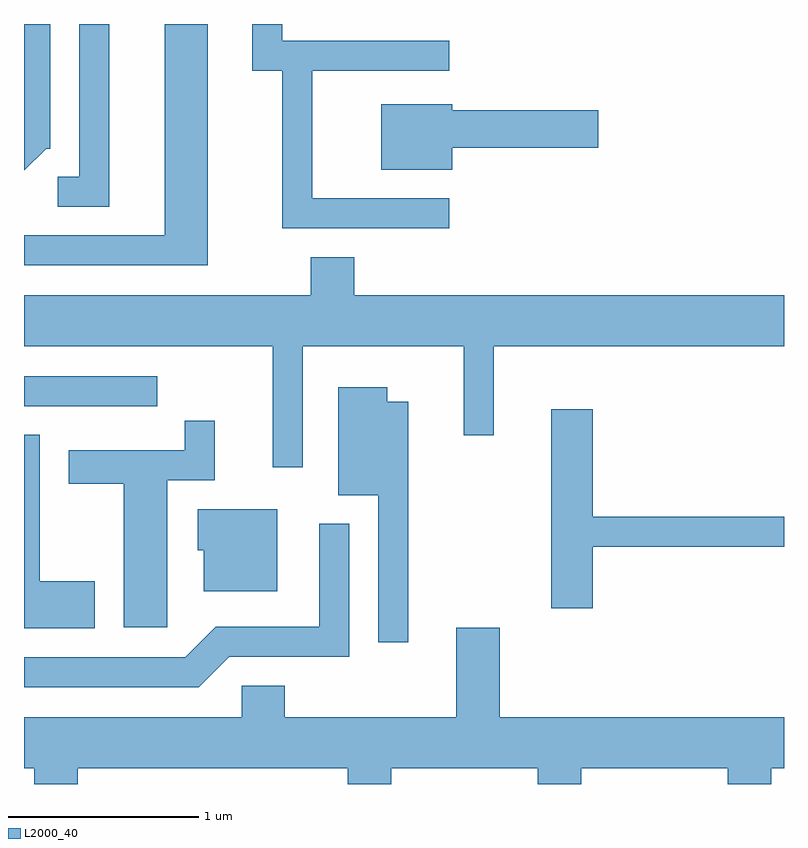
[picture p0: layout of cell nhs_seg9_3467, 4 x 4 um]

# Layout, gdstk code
import gdstk
lib = gdstk.Library(unit=1e-6, precision=1e-09)
def R(c, l, rs):  # rectangles x0, y0, x1, y1
    for r in rs: c.add(gdstk.rectangle(r[:2], r[2:], *l))
def P(c, l, *ps):  # polygons
    for p in ps: c.add(gdstk.Polygon(p, *l))
L2000_40 = (2000, 40)

nhs_seg9_3467 = lib.new_cell('nhs_seg9_3467')
R(nhs_seg9_3467, L2000_40, [(287.611,1960.421,288.313,1960.579)])
P(nhs_seg9_3467, L2000_40, [(288.579,1962.432),(288.351,1962.432),(288.351,1961.319),(287.611,1961.319),(287.611,1961.161),(288.579,1961.161)],
  [(288.059,1962.432),(287.901,1962.432),(287.901,1961.629),(287.788,1961.629),(287.788,1961.471),(288.059,1961.471)],
  [(289.848,1961.514),(289.129,1961.514),(289.129,1962.186),(289.848,1962.186),(289.848,1962.344),(288.969,1962.344),(288.969,1962.432),(288.811,1962.432),(288.811,1962.186),(288.971,1962.186),(288.971,1961.356),(289.848,1961.356)],
  [(287.727,1961.776),(287.749,1961.776),(287.749,1962.432),(287.611,1962.432),(287.611,1961.661)],
  [(289.864,1961.781),(290.634,1961.781),(290.634,1961.979),(289.864,1961.979),(289.864,1962.009),(289.491,1962.009),(289.491,1961.666),(289.864,1961.666)],
  [(289.079,1960.736),(289.926,1960.736),(289.926,1960.268),(290.084,1960.268),(290.084,1960.736),(291.611,1960.736),(291.611,1961.004),(289.349,1961.004),(289.349,1961.204),(289.121,1961.204),(289.121,1961.004),(287.611,1961.004),(287.611,1960.736),(288.921,1960.736),(288.921,1960.098),(289.079,1960.098)],
  [(289.634,1960.444),(289.524,1960.444),(289.524,1960.519),(289.266,1960.519),(289.266,1959.951),(289.476,1959.951),(289.476,1959.178),(289.634,1959.178)],
  [(290.604,1959.681),(291.611,1959.681),(291.611,1959.839),(290.604,1959.839),(290.604,1960.404),(290.386,1960.404),(290.386,1959.356),(290.604,1959.356)],
  [(288.364,1960.031),(288.614,1960.031),(288.614,1960.343),(288.456,1960.343),(288.456,1960.189),(287.846,1960.189),(287.846,1960.011),(288.136,1960.011),(288.136,1959.256),(288.364,1959.256)],
  [(287.984,1959.499),(287.694,1959.499),(287.694,1960.269),(287.611,1960.269),(287.611,1959.251),(287.984,1959.251)],
  [(288.944,1959.879),(288.526,1959.879),(288.526,1959.661),(288.556,1959.661),(288.556,1959.446),(288.944,1959.446)],
  [(288.692,1959.101),(289.324,1959.101),(289.324,1959.803),(289.166,1959.803),(289.166,1959.259),(288.619,1959.259),(288.459,1959.099),(287.611,1959.099),(287.611,1958.941),(288.532,1958.941)],
  [(287.894,1958.516),(289.316,1958.516),(289.316,1958.432),(289.544,1958.432),(289.544,1958.516),(290.316,1958.516),(290.316,1958.432),(290.544,1958.432),(290.544,1958.516),(291.316,1958.516),(291.316,1958.432),(291.544,1958.432),(291.544,1958.516),(291.611,1958.516),(291.611,1958.784),(290.114,1958.784),(290.114,1959.254),(289.886,1959.254),(289.886,1958.784),(288.984,1958.784),(288.984,1958.949),(288.756,1958.949),(288.756,1958.784),(287.611,1958.784),(287.611,1958.516),(287.666,1958.516),(287.666,1958.432),(287.894,1958.432)])

lib.write_gds('nhs_seg9_3467.gds')
